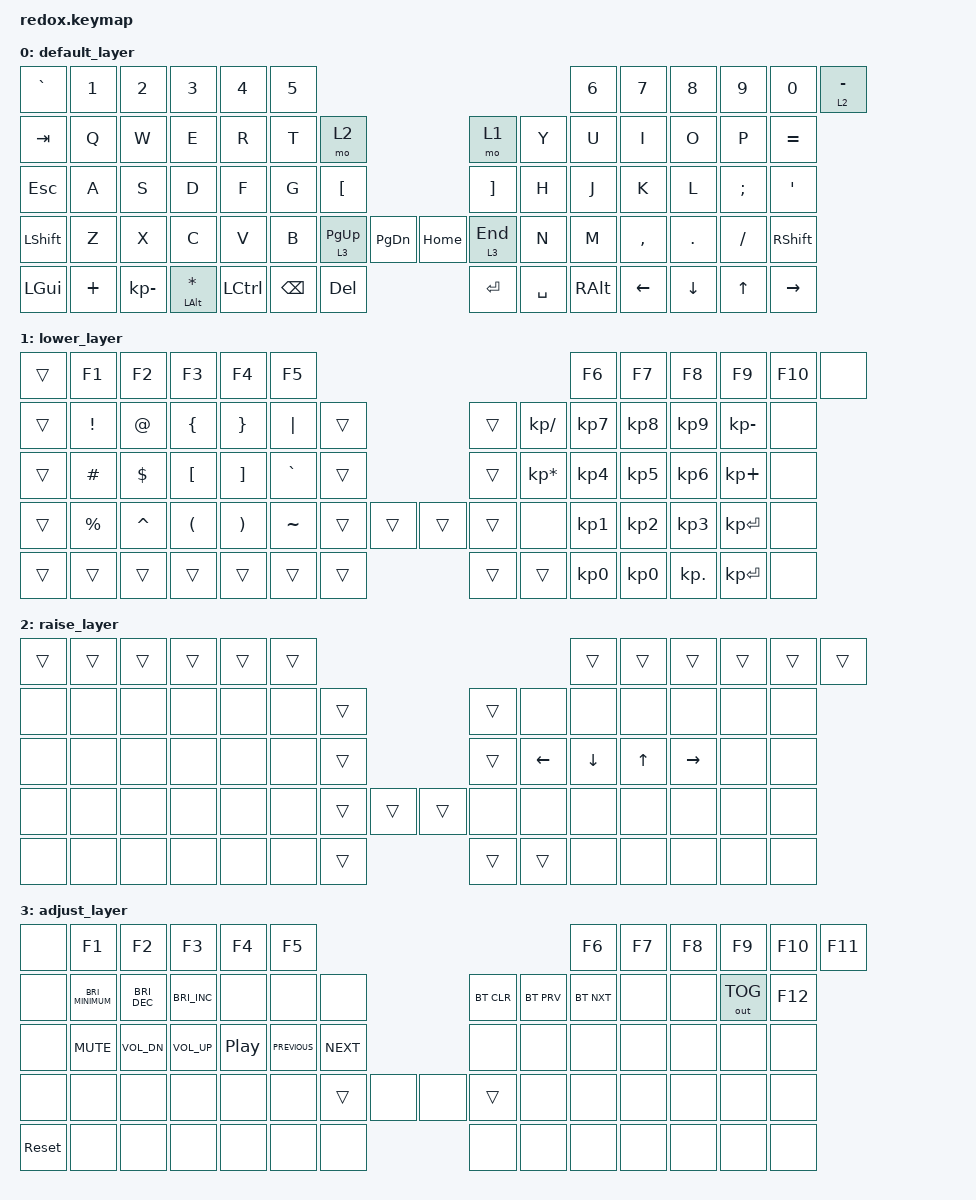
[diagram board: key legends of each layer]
/*
 * Copyright (c) 2021 The ZMK Contributors
 *
 * SPDX-License-Identifier: MIT
 */

#include <behaviors.dtsi>
#include <dt-bindings/zmk/keys.h>
#include <dt-bindings/zmk/bt.h>
#include <dt-bindings/zmk/outputs.h>

/ {
    keymap {
        compatible = "zmk,keymap";

        default_layer {
            // --------------------------------------------------------------------------------------------------------------------------------
            // | ESC   |  1  |  2  |   3   |  4  |  5  |                   ---                |  6    |  7    |  8    |  9   | 0  |    BKSP   |
            // | TAB   |  Q  |  W  |   E   |  R  |  T  |   (   |           ---        |  )    |  Y    |  U    |  I    |  O   | P  |     -     |
            // | CTRL  |  A  |  S  |   D   |  F  |  G  |   [   |           ---        |  ]    |  H    |  J    |  K    |  L   | ;  |     '     |
            // | SHIFT |  Z  |  X  |   C   |  V  |  B  | PG_UP | PG_DOWN | --- | HOME | END   |  N    |  M    |  ,    |  .   | /  | SHFT(RET) |
            // | CRTL  | ALT | GUI | LOWER |    GUI    | LOWER | SPACE   | --- | DEL  | SPACE |     RAISE     | LEFT  | DOWN | UP |   RIGHT   |

            bindings = <
   &kp GRAVE    &kp N1        &kp N2             &kp N3  &kp N4            &kp N5                                                  &kp N6                 &kp N7     &kp N8    &kp N9    &kp N0       &lt 2 MINUS
     &kp TAB     &kp Q         &kp W              &kp E   &kp R             &kp T          &mo 2                            &mo 1   &kp Y                  &kp U      &kp I     &kp O     &kp P         &kp EQUAL
     &kp ESC     &kp A         &kp S              &kp D   &kp F             &kp G       &kp LBKT                         &kp RBKT   &kp H                  &kp J      &kp K     &kp L  &kp SEMI  &kp SINGLE_QUOTE
   &kp LSHFT     &kp Z         &kp X              &kp C   &kp V             &kp B  &lt 3 PAGE_UP  &kp PG_DN   &kp HOME  &lt 3 END   &kp N                  &kp M  &kp COMMA   &kp DOT  &kp FSLH        &kp RSHIFT
&kp LEFT_GUI  &kp PLUS  &kp KP_MINUS  &mt LEFT_ALT STAR          &kp LEFT_CONTROL  &kp BACKSPACE    &kp DEL  &kp ENTER  &kp SPACE          &kp RIGHT_ALT           &kp LEFT  &kp DOWN    &kp UP         &kp RIGHT
            >;
        };

        lower_layer {
            // --------------------------------------------------------------------------------------------------------------------------
            // | ESC   |  1  |  2  |   3   |   4   |  5  |                   ---              |  6  |  7  |   8  |  9   |  0  |  DEL  |
            // | ESC   |  1  |  2  |   3   |   4   |  5  |   (   |           ---        |  )  |  6  |  7  |   8  |  9   |  0  |  DEL  |
            // | CTRL  |  -  |  =  |   [   |   ]   |  \  |   [   |           ---        |  ]  |  *  |  4  |   5  |  6   |  +  |   -   |
            // | SHIFT | ESC | GUI | COPY  | PASTE |     | PG_UP | PG_DOWN | --- | HOME | END |  \  |  1  |   2  |  3   | RET |  RET  |
            // | CRTL  | ALT | GUI | LOWER |     GUI     | LOWER | SPACE   | --- | DEL  |  0  |    RAISE  | LEFT | DOWN | UP  | RIGHT |

            bindings = <
&trans       &kp F1      &kp F2                &kp F3                 &kp F4     &kp F5                                           &kp F6                            &kp F7           &kp F8           &kp F9       &kp F10  &none
&trans     &kp EXCL      &kp AT        &kp LEFT_BRACE        &kp RIGHT_BRACE   &kp PIPE  &trans                  &trans     &kp KP_SLASH                   &kp KP_NUMBER_7  &kp KP_NUMBER_8  &kp KP_NUMBER_9  &kp KP_MINUS  &none
&trans     &kp HASH  &kp DOLLAR              &kp LBKT               &kp RBKT  &kp GRAVE  &trans                  &trans  &kp KP_MULTIPLY                   &kp KP_NUMBER_4  &kp KP_NUMBER_5  &kp KP_NUMBER_6   &kp KP_PLUS  &none
&trans  &kp PERCENT   &kp CARET  &kp LEFT_PARENTHESIS  &kp RIGHT_PARENTHESIS  &kp TILDE  &trans  &trans  &trans  &trans            &none                   &kp KP_NUMBER_1  &kp KP_NUMBER_2  &kp KP_NUMBER_3  &kp KP_ENTER  &none
&trans       &trans      &trans                &trans                            &trans  &trans  &trans  &trans  &trans                   &kp KP_NUMBER_0                   &kp KP_NUMBER_0       &kp KP_DOT  &kp KP_ENTER  &none
            >;
        };

        raise_layer {
            // ----------------------------------------------------------------------------------------------------------------------------
            // | ESC   |  1  |  2  |   3   |  4  |  5  |                   ---                |  6   |  7   |  8   |  9   |  0    |  DEL  |
            // | ESC   |  !  |  @  |   #   |  $  |  %  |   (   |           ---        |  )    |  ^   |  &   |  *   |  (   |  )    |  DEL  |
            // | CTRL  |  _  |  +  |   {   |  }  | "|" |   [   |           ---        |  ]    | HOME | PGUP | PRSC | UP   |  `    |   ~   |
            // | SHIFT | ESC | GUI |   (   |  )  |     | PG_UP | PG_DOWN | --- | HOME | END   | END  | PGDN | LEFT | DOWN | RIGHT |  RET  |
            // | CRTL  | ALT | GUI | LOWER |    GUI    | LOWER | SPACE   | --- | DEL  | SPACE |    RAISE    | LEFT | DOWN | UP    | RIGHT |

            bindings = <
&trans  &trans  &trans  &trans  &trans  &trans                                          &trans                 &trans        &trans           &trans  &trans  &trans
 &none   &none   &none   &none   &none   &none  &trans                  &trans           &none                  &none         &none            &none   &none   &none
 &none   &none   &none   &none   &none   &none  &trans                  &trans  &kp LEFT_ARROW         &kp DOWN_ARROW  &kp UP_ARROW  &kp RIGHT_ARROW   &none   &none
 &none   &none   &none   &none   &none   &none  &trans  &trans  &trans   &none           &none                  &none         &none            &none   &none   &none
 &none   &none   &none   &none           &none   &none  &trans  &trans  &trans                  &none                         &none            &none   &none   &none
            >;
        };

        adjust_layer {
            // -----------------------------------------------------------------------------------------
            // |  F1   |  F2   |    F3    |    F4     |     F5     | F6 |                   ---                | F7  | F8  |  F9  |  F10 | F11 | F12        |
            // | TAB   |       |          |           |            |    | BOOTL |           ---        |  )    | BT1 | BT2 |  BT3 |  BT4 | BT5 | OUTPUT TGL |
            // | CTRL  | MUTE  |  Vol Dn  |  Vol Up   | Play/Pause |    | RESET |           ---        |  ]    | F1  | F2  |  F3  |  F4  | F5  | F6         |
            // | SHIFT | PSCRN |  PSCRN   |   CAPS    |            |    | PG_UP | PG_DOWN | --- | HOME | END   | F7  | F8  |  F9  |  F10 | F11 | F12        |
            // | CRTL  | ALT   |  GUI     |   LOWER   |      GUI        | LOWER | SPACE   | --- | DEL  | SPACE |   RAISE   | LEFT | DOWN | UP  |   RIGHT    |

            bindings = <
     &none                    &kp F1                &kp F2                &kp F3            &kp F4          &kp F5                                            &kp F6             &kp F7  &kp F8  &kp F9       &kp F10  &kp F11
     &none  &kp C_BRIGHTNESS_MINIMUM  &kp C_BRIGHTNESS_DEC  &kp C_BRIGHTNESS_INC             &none           &none       &none                &bt BT_CLR  &bt BT_PRV         &bt BT_NXT   &none   &none  &out OUT_TOG  &kp F12
     &none                &kp K_MUTE          &kp C_VOL_DN          &kp C_VOL_UP  &kp C_PLAY_PAUSE  &kp C_PREVIOUS  &kp C_NEXT                     &none       &none              &none   &none   &none         &none    &none
     &none                     &none                 &none                 &none             &none           &none      &trans  &none  &none      &trans       &none              &none   &none   &none         &none    &none
&sys_reset                     &none                 &none                 &none                             &none       &none  &none  &none       &none              &none               &none   &none         &none    &none
            >;
        };
    };
};
